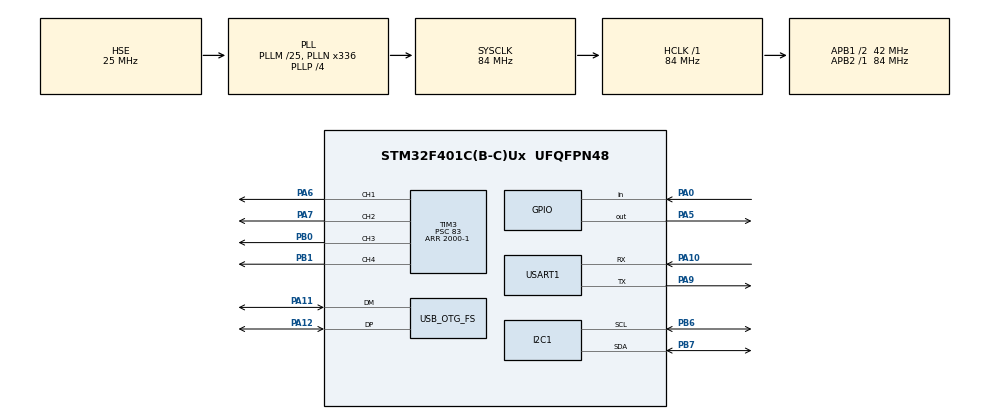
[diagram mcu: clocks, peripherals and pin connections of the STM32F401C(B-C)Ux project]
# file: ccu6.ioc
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Mcu.Family=STM32F4
Mcu.Name=STM32F401C(B-C)Ux
Mcu.Package=UFQFPN48
NVIC.OTG_FS_IRQn=true\:0\:0\:false\:false\:true\:false\:true\:true
NVIC.PriorityGroup=NVIC_PRIORITYGROUP_4
PA0-WKUP.GPIO_PuPd=GPIO_PULLUP
PA0-WKUP.Signal=GPIO_Input
PA10.Mode=Asynchronous
PA10.Signal=USART1_RX
PA11.Mode=Device_Only
PA11.Signal=USB_OTG_FS_DM
PA12.Mode=Device_Only
PA12.Signal=USB_OTG_FS_DP
PA13.Mode=Serial_Wire
PA13.Signal=SYS_JTMS-SWDIO
PA14.Mode=Serial_Wire
PA14.Signal=SYS_JTCK-SWCLK
PA5.Signal=GPIO_Output
PA6.Signal=S_TIM3_CH1
PA7.Signal=S_TIM3_CH2
PA9.Mode=Asynchronous
PA9.Signal=USART1_TX
PB0.Signal=S_TIM3_CH3
PB1.Signal=S_TIM3_CH4
PB6.Mode=I2C
PB6.Signal=I2C1_SCL
PB7.Mode=I2C
PB7.Signal=I2C1_SDA
PC14-OSC32_IN.Mode=LSE-External-Oscillator
PC14-OSC32_IN.Signal=RCC_OSC32_IN
PC15-OSC32_OUT.Mode=LSE-External-Oscillator
PC15-OSC32_OUT.Signal=RCC_OSC32_OUT
PH0\ -\ OSC_IN.Mode=HSE-External-Oscillator
PH0\ -\ OSC_IN.Signal=RCC_OSC_IN
PH1\ -\ OSC_OUT.Mode=HSE-External-Oscillator
PH1\ -\ OSC_OUT.Signal=RCC_OSC_OUT
ProjectManager.HeapSize=0x200
ProjectManager.StackSize=0x400
ProjectManager.TargetToolchain=CMake
RCC.48MHZClocksFreq_Value=48000000
RCC.AHBFreq_Value=84000000
RCC.APB1CLKDivider=RCC_HCLK_DIV2
RCC.APB1Freq_Value=42000000
RCC.APB1TimFreq_Value=84000000
RCC.APB2Freq_Value=84000000
RCC.APB2TimFreq_Value=84000000
RCC.CortexFreq_Value=84000000
RCC.HCLKFreq_Value=84000000
RCC.HSE_VALUE=25000000
RCC.HSI_VALUE=16000000
RCC.PLLM=25
RCC.PLLN=336
RCC.PLLP=RCC_PLLP_DIV4
RCC.PLLQ=7
RCC.SYSCLKFreq_VALUE=84000000
RCC.SYSCLKSource=RCC_SYSCLKSOURCE_PLLCLK
RCC.VCOOutputFreq_Value=336000000
SH.S_TIM3_CH1.0=TIM3_CH1,PWM Generation1 CH1
SH.S_TIM3_CH2.0=TIM3_CH2,PWM Generation2 CH2
SH.S_TIM3_CH3.0=TIM3_CH3,PWM Generation3 CH3
SH.S_TIM3_CH4.0=TIM3_CH4,PWM Generation4 CH4
TIM3.AutoReloadPreload=TIM_AUTORELOAD_PRELOAD_ENABLE
TIM3.Channel-PWM\ Generation1\ CH1=TIM_CHANNEL_1
TIM3.Channel-PWM\ Generation2\ CH2=TIM_CHANNEL_2
TIM3.Channel-PWM\ Generation3\ CH3=TIM_CHANNEL_3
TIM3.Channel-PWM\ Generation4\ CH4=TIM_CHANNEL_4
TIM3.Period=2000-1
TIM3.Prescaler=83
USART1.VirtualMode=VM_ASYNC
USB_DEVICE.CLASS_NAME_FS=CDC
USB_DEVICE.VirtualMode=Cdc
USB_DEVICE.VirtualModeFS=Cdc_FS
USB_OTG_FS.VirtualMode=Device_Only
VP_TIM3_VS_ClockSourceINT.Mode=Internal
VP_USB_DEVICE_VS_USB_DEVICE_CDC_FS.Mode=CDC_FS
board=custom

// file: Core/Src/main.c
/* USER CODE BEGIN Header */
/**
  ******************************************************************************
  * @file           : main.c
  * @brief          : Main program body
  ******************************************************************************
  * @attention
  *
  * Copyright (c) 2026 STMicroelectronics.
  * All rights reserved.
  *
  * This software is licensed under terms that can be found in the LICENSE file
  * in the root directory of this software component.
  * If no LICENSE file comes with this software, it is provided AS-IS.
  *
  ******************************************************************************
  */
/* USER CODE END Header */
#include "main.h"
#include "i2c.h"
#include "tim.h"
#include "usart.h"
#include "usb_device.h"
#include "gpio.h"

/* USER CODE BEGIN Includes */
#include <string.h>
#include <stdio.h>
#include"usart.h"
/* USER CODE END Includes */

void SystemClock_Config(void);
/* USER CODE BEGIN PFP */
//printf 重定向串口1
int _write(int file, char *ptr, int len)
{
  HAL_UART_Transmit(&huart1, (uint8_t*)ptr, len, HAL_MAX_DELAY);
  return len;
}
// 获取复位原因
const char* Get_Reset_Cause(void)
{
  if (__HAL_RCC_GET_FLAG(RCC_FLAG_IWDGRST) != RESET)
  {
    return "Independent Watchdog Reset";
  }
  else if (__HAL_RCC_GET_FLAG(RCC_FLAG_WWDGRST) != RESET)
  {
    return "Window Watchdog Reset";
  }
  else if (__HAL_RCC_GET_FLAG(RCC_FLAG_SFTRST) != RESET)
  {
    return "Software Reset";
  }
  else if (__HAL_RCC_GET_FLAG(RCC_FLAG_PORRST) != RESET)
  {
    return "Power-On Reset";
  }
  else if (__HAL_RCC_GET_FLAG(RCC_FLAG_PINRST) != RESET)
  {
    return "External Pin Reset";
  }
  else
  {
    return "Unknown Reset Cause";
  }
}
/* USER CODE END PFP */

int main(void)
{

  /* USER CODE BEGIN 1 */
uint8_t led_toggle_enable = 1; //允许自动闪烁
uint32_t led_tick =0; //闪烁计时器
  /* USER CODE END 1 */

  /* MCU Configuration--------------------------------------------------------*/

  /* Reset of all peripherals, Initializes the Flash interface and the Systick. */
  HAL_Init();

  /* Configure the system clock */
  SystemClock_Config();

  /* Initialize all configured peripherals */
  MX_GPIO_Init();
  MX_I2C1_Init();
  MX_USB_DEVICE_Init();
  MX_TIM3_Init();
  MX_USART1_UART_Init();
  /* USER CODE BEGIN 2 */
const char*project_name = "ec-round2-<260211223>";
printf("Project Name: %s,SYSCLK: %luHZ,Reset Cause: %s\n", project_name, HAL_RCC_GetSysClockFreq(), Get_Reset_Cause());

__HAL_RCC_CLEAR_RESET_FLAGS();//清除复位标志

  /* USER CODE END 2 */

  /* Infinite loop */
  /* USER CODE BEGIN WHILE */
  while (1)
  {
    if(led_toggle_enable && (HAL_GetTick() - led_tick >= 500)) //每500ms切换一次LED状态
    {
      HAL_GPIO_TogglePin(GPIOA, GPIO_PIN_5);
      led_tick = HAL_GetTick();
    }
    /* 按键检测：仅在一次"按下"时触发，按住不会连续翻转 */
    static uint8_t key_last_pressed = 0;
    uint8_t key_pressed = (HAL_GPIO_ReadPin(GPIOA, GPIO_PIN_0) == GPIO_PIN_RESET); //按键接在PA0，低电平按下

    if(key_pressed && !key_last_pressed) //按下沿
    {
      HAL_Delay(20); //消抖延时
      if(HAL_GPIO_ReadPin(GPIOA, GPIO_PIN_0) == GPIO_PIN_RESET)
      {
        led_toggle_enable = !led_toggle_enable; //切换LED自动闪烁开关
        if(led_toggle_enable)
        {
          led_tick = HAL_GetTick(); //恢复闪烁时重新计时
        }
        HAL_GPIO_TogglePin(GPIOA, GPIO_PIN_5); //立即切换一次LED状态，给用户反馈
      }
    }
    key_last_pressed = key_pressed;
    /* USER CODE END WHILE */

  }
}

void SystemClock_Config(void)
{
  RCC_OscInitTypeDef RCC_OscInitStruct = {0};
  RCC_ClkInitTypeDef RCC_ClkInitStruct = {0};

  /** Configure the main internal regulator output voltage
  */
  __HAL_RCC_PWR_CLK_ENABLE();
  __HAL_PWR_VOLTAGESCALING_CONFIG(PWR_REGULATOR_VOLTAGE_SCALE2);

  /** Initializes the RCC Oscillators according to the specified parameters
  * in the RCC_OscInitTypeDef structure.
  */
  RCC_OscInitStruct.OscillatorType = RCC_OSCILLATORTYPE_HSE;
  RCC_OscInitStruct.HSEState = RCC_HSE_ON;
  RCC_OscInitStruct.PLL.PLLState = RCC_PLL_ON;
  RCC_OscInitStruct.PLL.PLLSource = RCC_PLLSOURCE_HSE;
  RCC_OscInitStruct.PLL.PLLM = 25;
  RCC_OscInitStruct.PLL.PLLN = 336;
  RCC_OscInitStruct.PLL.PLLP = RCC_PLLP_DIV4;
  RCC_OscInitStruct.PLL.PLLQ = 7;
  if (HAL_RCC_OscConfig(&RCC_OscInitStruct) != HAL_OK)
  {
    Error_Handler();
  }

  /** Initializes the CPU, AHB and APB buses clocks
  */
  RCC_ClkInitStruct.ClockType = RCC_CLOCKTYPE_HCLK|RCC_CLOCKTYPE_SYSCLK
                              |RCC_CLOCKTYPE_PCLK1|RCC_CLOCKTYPE_PCLK2;
  RCC_ClkInitStruct.SYSCLKSource = RCC_SYSCLKSOURCE_PLLCLK;
  RCC_ClkInitStruct.AHBCLKDivider = RCC_SYSCLK_DIV1;
  RCC_ClkInitStruct.APB1CLKDivider = RCC_HCLK_DIV2;
  RCC_ClkInitStruct.APB2CLKDivider = RCC_HCLK_DIV1;

  if (HAL_RCC_ClockConfig(&RCC_ClkInitStruct, FLASH_LATENCY_2) != HAL_OK)
  {
    Error_Handler();
  }
}

void Error_Handler(void)
{
  __disable_irq();
  while (1)
  {
  }
}
